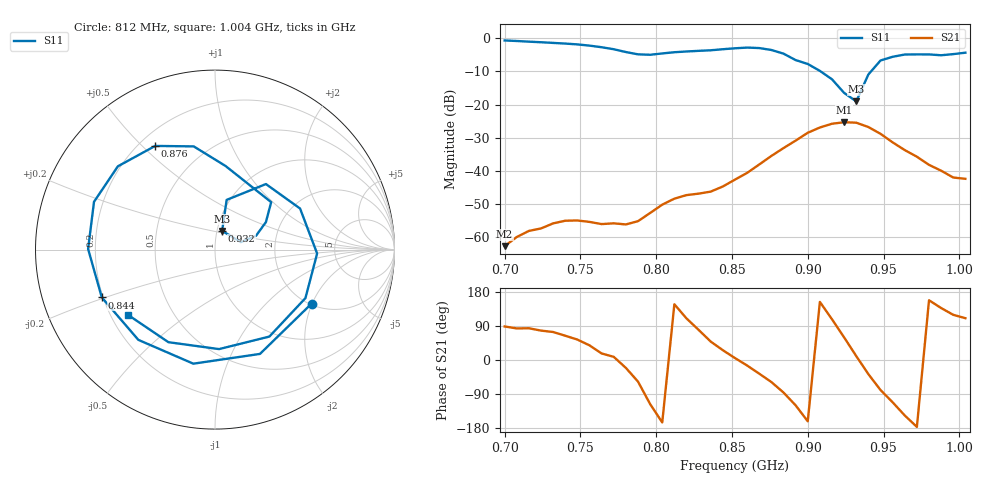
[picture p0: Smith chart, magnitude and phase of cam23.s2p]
# Hz S RI R 50
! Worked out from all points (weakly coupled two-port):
!   39 points, 700 MHz to 1.004 GHz, reference 50 ohm
!   highest |S21| = -25.34 dB at 924 MHz (marker M1); lowest = -62.8 dB at 700 MHz (marker M2)
!   lowest |S11| = -19.0 dB at 932 MHz (marker M3), VSWR 1.25, Z = 52.9 + j11.2 ohm
!   |S11| at or under -10 dB: 908.5 MHz to 941.7 MHz (33.21 MHz wide, 3.59 % of centre)
!   S12 and S22 are empty: the file has one direction only
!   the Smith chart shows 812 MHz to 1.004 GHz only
!   S11 on the Smith chart (normalised r, x): 812 MHz: 2.04, -1.98; 844 MHz: 0.19, -0.20; 876 MHz: 0.26, +0.55; 932 MHz: 1.06, +0.22; 1.004 GHz: 0.27, -0.31
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7e8  0.7629 0.5292  1.9e-05 0.000726  0 0  0 0
7.24e8  0.8329 -0.2606  0.000289 0.00131  0 0  0 0
7.4e8  0.4442 -0.705  0.00077 0.00158  0 0  0 0
7.56e8  -0.1969 -0.7505  0.00132 0.00106  0 0  0 0
7.72e8  -0.6577 -0.1887  0.00159 0.000232  0 0  0 0
7.8e8  -0.5756 0.232  0.00145 -0.00055  0 0  0 0
7.88e8  -0.2216 0.5283  0.000945 -0.00145  0 0  0 0
7.96e8  0.2607 0.5007  -0.00102 -0.00207  0 0  0 0
8.04e8  0.5725 0.1467  -0.00297 -0.000809  0 0  0 0
8.12e8  0.5387 -0.3004  -0.00318 0.00206  0 0  0 0
8.28e8  -0.1207 -0.6356  0.000824 0.00444  0 0  0 0
8.44e8  -0.6306 -0.2666  0.00521 0.00252  0 0  0 0
8.52e8  -0.707 0.00345  0.00733 0.00065  0 0  0 0
8.76e8  -0.3331 0.5776  0.00883 -0.0142  0 0  0 0
9e8  0.313 0.2643  -0.0356 -0.0117  0 0  0 0
9.08e8  0.2837 0.1532  -0.0402 0.0202  0 0  0 0
9.24e8  0.144 0.0417  0.0273 0.0467  0 0  0 0
9.32e8  0.0397 0.1044  0.0523 0.00949  0 0  0 0
9.4e8  0.0649 0.2769  0.0363 -0.0277  0 0  0 0
9.56e8  0.4739 0.2289  -0.00988 -0.025  0 0  0 0
9.8e8  0.303 -0.4845  -0.0114 0.00466  0 0  0 0
1.004e9  -0.4867 -0.3623  -0.00262 0.00709  0 0  0 0
